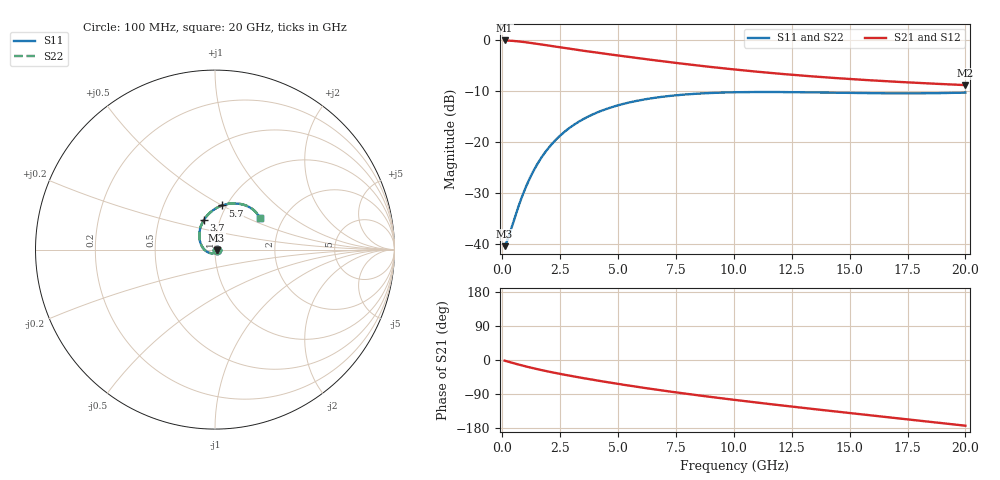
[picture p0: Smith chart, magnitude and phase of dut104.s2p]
! Touchstone file exported from HFSS 2023.1.0
!  File:  D:/Users/fzz/RDL_TSV/temp_RDL_TSV_104_1778749132.aedt
!  Generated:  5:09:44 %x4E0B%x5348  5%x6708 14, 2026
!  Design:  RDL_TSV
!  Project:  temp_RDL_TSV_104_1778749132
!  Setup:  Setup1
!  Solution:  Sweep
! Variables:
!  dtsv = 13.46um
!  hbump = 3um
!  htsv = 84.57um
!  ldown = 287.68um
!  lrdl = 329.5um
!  p = 40
!  p1 = 56.39um
!  rhole = 10um
!  subl = 2181.04um
!  t = 450um
!  tdown = 4.58um
!  trdl = 4.97um
!  viad = 10um
!  wdown = 17.48um
!  wrdl = 20.36um
!  xbump = 18um
# GHz S MA R 50.000000
! Terminal data exported
! Port[1] = TM1_1_T1
! Port[2] = TM1_4_T1
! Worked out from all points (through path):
!   200 points, 100 MHz to 20 GHz, reference 50 ohm
!   highest |S21| = -0.08 dB at 100 MHz (marker M1); lowest = -8.9 dB at 20 GHz (marker M2)
!   group delay of S21, straight-line fit = 22.4 ps
!   lowest |S11| = -40.5 dB at 100 MHz (marker M3), VSWR 1.02, Z = 50.9 - j0.362 ohm
!   |S11| at or under -10 dB: start of sweep to end of sweep
!   |S22| runs from -40.5 to -10.2 dB; largest |S21 - S12| = 9.5e-15
!   S11 on the Smith chart (normalised r, x): 100 MHz: 1.02, -0.01; 3.7 GHz: 0.84, +0.29; 5.7 GHz: 0.96, +0.50; 20 GHz: 1.53, +0.59
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0.1  0.009423 -22.2  0.9903 -1.8  0.9903 -1.8  0.009422 -22.2
! Gamma 0 0 0 0
! Port Impedance 50 0 50 0
0.2  0.01052 -43.5  0.9886 -3.5  0.9886 -3.5  0.01051 -43.5
0.7  0.02319 -120.1  0.9696 -12.0  0.9696 -12.0  0.02319 -120.1
1  0.03511 -148.0  0.952 -16.7  0.952 -16.7  0.03513 -148.1
1.3  0.04931 -169.0  0.9316 -21.2  0.9316 -21.2  0.04935 -169.0
1.6  0.06502 174.5  0.9101 -25.4  0.9101 -25.4  0.06509 174.4
2  0.08716 156.9  0.8813 -30.6  0.8813 -30.6  0.08728 156.8
2.4  0.1096 142.7  0.8536 -35.5  0.8536 -35.5  0.1097 142.7
2.9  0.1368 128.4  0.821 -41.3  0.821 -41.3  0.137 128.4
3.5  0.1671 114.5  0.7848 -47.9  0.7848 -47.9  0.1674 114.5
3.7  0.1765 110.4  0.7734 -50.0  0.7734 -50.0  0.1768 110.4
4.6  0.2141 95.0  0.7249 -59.1  0.7249 -59.1  0.2145 95.0
5.7  0.2496 80.5  0.6713 -69.7  0.6713 -69.7  0.2501 80.5
6.8  0.2748 69.3  0.6234 -79.5  0.6234 -79.5  0.2754 69.3
8.4  0.2969 56.9  0.5634 -92.7  0.5634 -92.7  0.2975 57.0
10.1  0.3068 47.6  0.5116 -105.8  0.5116 -105.8  0.3075 47.6
11.7  0.3084 41.5  0.4724 -117.3  0.4724 -117.3  0.3091 41.5
13.4  0.3056 37.2  0.4391 -129.1  0.4391 -129.1  0.3064 37.3
15  0.3019 35.0  0.414 -140.0  0.414 -140.0  0.3026 35.0
16.7  0.2992 34.1  0.3924 -151.3  0.3924 -151.3  0.2999 34.0
18.3  0.2996 34.2  0.3756 -162.0  0.3756 -162.0  0.3003 34.2
20  0.3045 34.8  0.3605 -173.4  0.3605 -173.4  0.3051 34.8
